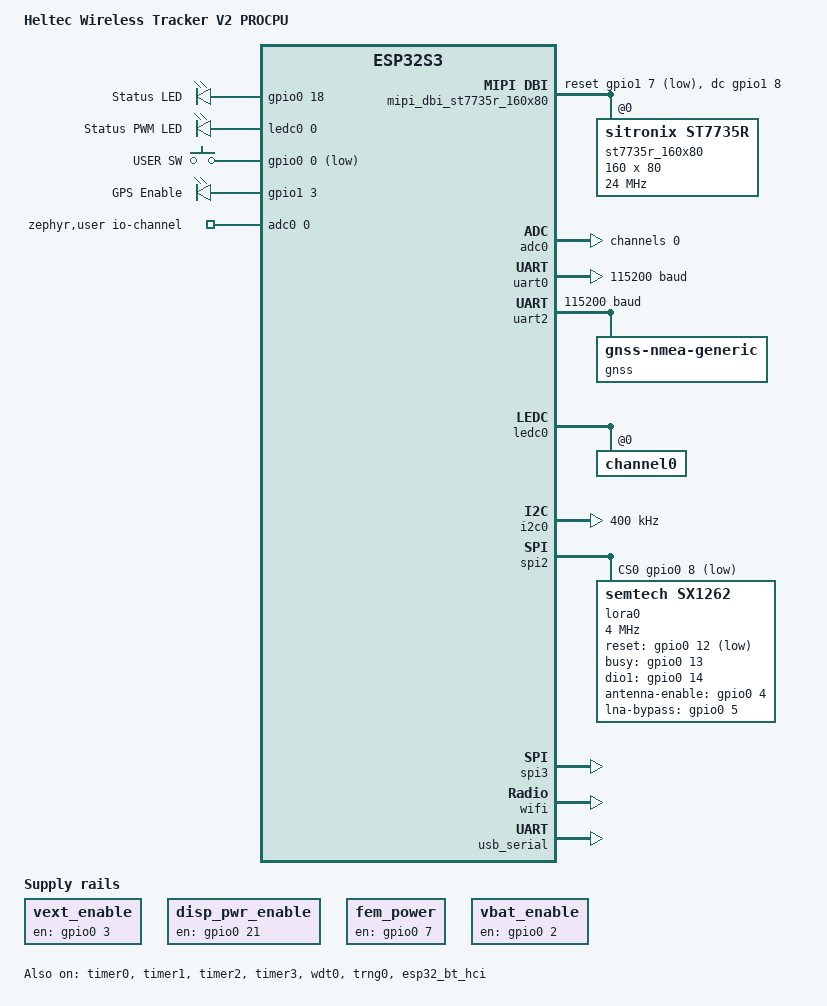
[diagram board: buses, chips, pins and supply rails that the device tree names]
/*
 * SPDX-License-Identifier: MIT
 * Heltec Wireless Tracker V2 — ZephCore procpu DTS
 *
 * Hardware:
 *   MCU:    ESP32-S3FN8, 8 MB flash
 *   Radio:  SX1262 on SPI2, KCT8103L external PA/FEM
 *   GNSS:   UC6580 on UART2
 *   TFT:    ST7735R-compatible 0.96" 160x80 on SPI3
 *   Button: GPIO0
 *   LED:    GPIO18
 *
 * Pin mappings are verified against:
 *   - Heltec Wireless Tracker V2.3 schematic and V2 datasheet
 *   - MeshCore variants/heltec_tracker_v2
 *
 * GPIO46 appears as "PA_CPS" in the Heltec pin map. It is not a FEM control
 * on this board and is left unclaimed. That label is a carry-over from the
 * V4.2 map, where the GC1109's CPS genuinely is GPIO46; on a KCT8103L the two
 * pin names swap roles and CPS is the SX1262 DIO2 net (dio2-tx-enable), which
 * is why MeshCore's heltec_tracker_v2 target defines no CPS GPIO and sets
 * SX126X_DIO2_AS_RF_SWITCH=true. See the FEM comment on the &lora node.
 */

/dts-v1/;

#include <espressif/esp32s3/esp32s3_fn8.dtsi>
#include <espressif/partitions_0x0_amp_8M.dtsi>
#include <zephyr/dt-bindings/adc/adc.h>
#include <zephyr/dt-bindings/input/input-event-codes.h>
#include <zephyr/dt-bindings/lora/sx126x.h>
#include <zephyr/dt-bindings/gpio/espressif-esp32-gpio.h>
#include <zephyr/dt-bindings/pwm/pwm.h>
#include "heltec_wireless_tracker_v2-pinctrl.dtsi"

/ {
	model = "Heltec Wireless Tracker V2 PROCPU";
	compatible = "heltec,wireless-tracker-v2", "espressif,esp32s3";

	aliases {
		led0 = &status_led;
		lora-tx-led = &status_led;
		heartbeat-pwm-led = &pwm_status_led;
		lora-tx-pwm-led = &pwm_status_led;
		uart-0 = &uart0;
		uart-2 = &uart2;
		i2c-0 = &i2c0;
		lora0 = &lora0;
		sw0 = &button0;
		watchdog0 = &wdt0;
		gnss = &gnss;
		gps-enable = &gps_enable_pin;
		display0 = &st7735r_160x80;
	};

	chosen {
		zephyr,sram = &sram1;
		zephyr,console = &usb_serial;
		zephyr,shell-uart = &usb_serial;
		zephyr,flash = &flash0;
		zephyr,code-partition = &slot0_partition;
		zephyr,bt-hci = &esp32_bt_hci;
		zephyr,display = &st7735r_160x80;
	};

	leds {
		compatible = "gpio-leds";

		status_led: led_0 {
			gpios = <&gpio0 18 GPIO_ACTIVE_HIGH>;
			label = "Status LED";
		};
	};

	/* Same GPIO18 net as status_led above, driven through the LEDC PWM
	 * peripheral instead of a raw GPIO write. Single LED doubling as
	 * heartbeat, message/shutdown flash and LoRa TX indicator (same
	 * "Option 1" shared-brightness pattern as T096, see helpers/ui/ui_common.c
	 * and adapters/board/ZephyrBoard.cpp: heartbeat-pwm-led/lora-tx-pwm-led
	 * aliases give every one of those events a single 0-100 brightness knob,
	 * RAM-only, on top of the existing persisted on/off gate. */
	pwm_leds {
		compatible = "pwm-leds";

		pwm_status_led: pwm_led_gpio18 {
			label = "Status PWM LED";
			pwms = <&ledc0 0 PWM_MSEC(10) PWM_POLARITY_NORMAL>;
		};
	};

	buttons: buttons {
		compatible = "gpio-keys";

		button0: button_0 {
			gpios = <&gpio0 0 (GPIO_PULL_UP | GPIO_ACTIVE_LOW)>;
			label = "USER SW";
			zephyr,code = <INPUT_KEY_0>;
		};
	};

	/* Vext powers the TFT and UC6580 GNSS rail. Keep it on; ZephCore gates
	 * GNSS by holding/releasing the GNSS reset line and gates only the TFT
	 * backlight at runtime. */
	vext_enable: tft_pwr_enable: vext-enable {
		compatible = "regulator-fixed";
		regulator-name = "vext";
		enable-gpios = <&gpio0 3 GPIO_ACTIVE_HIGH>;
		regulator-boot-on;
		regulator-always-on;
		/* Documents the rail's requirement, but do not rely on it. It is
		 * inert twice over: regulator-boot-on sends regulator_common_init()
		 * down the refcount-only branch so regulator_delay() never runs, and
		 * regulator-always-on makes regulator_enable() return at its first
		 * line. The real settle time comes from the ST7735R driver's own
		 * mipi_dbi_reset() + exit-sleep delay at DISPLAY_INIT_PRIORITY 85;
		 * the GNSS side is safe because gnss-nmea-generic never probes the
		 * receiver, it just parses whatever the UART delivers. */
		startup-delay-us = <10000>;
	};

	/* GPIO21 drives the TFT backlight switch. */
	disp_pwr_enable: disp-pwr-enable {
		compatible = "regulator-fixed";
		regulator-name = "disp-pwr-enable";
		enable-gpios = <&gpio0 21 GPIO_ACTIVE_HIGH>;
	};

	/* GPIO35 is the UC6580 reset/run line. HIGH releases reset/runs GNSS. */
	gps_en: gps-enable {
		compatible = "gpio-leds";

		gps_enable_pin: gps_enable {
			gpios = <&gpio1 3 GPIO_ACTIVE_HIGH>;
			label = "GPS Enable";
		};
	};

	/* FEM LDO power supply: VFEM_Ctrl = GPIO7. */
	fem_power: fem-power {
		compatible = "regulator-fixed";
		regulator-name = "fem-power";
		enable-gpios = <&gpio0 7 GPIO_ACTIVE_HIGH>;
		regulator-boot-on;
		regulator-always-on;
		/* Documents the FEM's requirement, but do not rely on it — inert for
		 * the same two reasons as vext above. Harmless because the FEM is a
		 * passive gain block with no bus to probe. */
		startup-delay-us = <1000>;
	};

	/* ADC_Ctrl = GPIO2. ZephCore enables it only while sampling battery. */
	vbat_enable: vbat-enable {
		compatible = "regulator-fixed";
		regulator-name = "vbat-enable";
		enable-gpios = <&gpio0 2 GPIO_ACTIVE_HIGH>;
	};

	zephyr,user {
		io-channels = <&adc0 0>;
		/* MeshCore V2 uses a 5.42x empirical battery scale. With ESP32-S3
		 * ADC_REF_INTERNAL (1100 mV), raw-to-battery multiplier is 5962 mV. */
		vbat-mv-multiplier = <5962>;
	};

	mipi_dbi_st7735r_160x80 {
		compatible = "zephyr,mipi-dbi-spi";
		spi-dev = <&spi3>;
		dc-gpios = <&gpio1 8 GPIO_ACTIVE_HIGH>;    /* GPIO40 */
		reset-gpios = <&gpio1 7 GPIO_ACTIVE_LOW>;  /* GPIO39 */
		write-only;
		status = "okay";
		#address-cells = <1>;
		#size-cells = <0>;

		st7735r_160x80: st7735r@0 {
			compatible = "sitronix,st7735r";
			mipi-max-frequency = <24000000>;
			mipi-mode = "MIPI_DBI_MODE_SPI_4WIRE";
			reg = <0>;
			width = <160>;
			height = <80>;
			/* No inversion-on: the mono_tft wrapper writes 0xFFFF for a lit
			 * pixel and 0x0000 for background, so INV_ON paints a light
			 * background with dark text.  The UI is drawn light-on-dark. */
			x-offset = <0>;
			y-offset = <24>;
			madctl = <0xa8>;
			colmod = <0x05>;
			invctr = <7>;
			vmctr1 = <0x0e>;
			pwctr1 = [a2 02 84];
			pwctr2 = [c1];
			pwctr3 = [0a 00];
			pwctr4 = [8a 2a];
			pwctr5 = [8a ee];
			frmctr1 = [01 26 2e];
			frmctr2 = [01 26 2e];
			frmctr3 = [01 26 2e 01 26 2e];
			gamctrp1 = [0f 1a 0f 18 2f 28 20 22 1f 1b 23 37 00 07 02 10];
			gamctrn1 = [0f 1b 0f 17 33 2c 29 2e 30 2e 30 3b 00 07 03 10];
			caset = [00 00 00 9f];
			raset = [00 18 00 67];
		};
	};
};

&adc0 {
	status = "okay";
	#address-cells = <1>;
	#size-cells = <0>;

	channel@0 {
		reg = <0>;
		zephyr,gain = "ADC_GAIN_1";
		zephyr,reference = "ADC_REF_INTERNAL";
		zephyr,acquisition-time = <ADC_ACQ_TIME_DEFAULT>;
		zephyr,resolution = <12>;
	};
};

/* ADC unit 2 channel 0 maps to GPIO11 on ESP32-S3, which is LoRa MISO here. */
&adc1 {
	status = "disabled";
};

&uart0 {
	status = "okay";
	current-speed = <115200>;
	pinctrl-0 = <&uart0_default>;
	pinctrl-names = "default";
};

&uart2 {
	status = "okay";
	current-speed = <115200>;
	pinctrl-0 = <&uart2_default>;
	pinctrl-names = "default";

	gnss: gnss-nmea-generic {
		compatible = "gnss-nmea-generic";
		status = "okay";
	};
};

&gpio0 {
	status = "okay";
};

&gpio1 {
	status = "okay";
};

&ledc0 {
	pinctrl-0 = <&ledc0_default>;
	pinctrl-names = "default";
	status = "okay";
	#address-cells = <1>;
	#size-cells = <0>;

	channel0@0 {
		reg = <0x0>;
		timer = <0>;
	};
};

&i2c0 {
	status = "okay";
	clock-frequency = <I2C_BITRATE_FAST>;
	pinctrl-0 = <&i2c0_default>;
	pinctrl-names = "default";
};

&spi2 {
	#address-cells = <1>;
	#size-cells = <0>;
	status = "okay";
	pinctrl-0 = <&spim2_default>;
	pinctrl-names = "default";
	cs-gpios = <&gpio0 8 GPIO_ACTIVE_LOW>;

	lora0: lora@0 {
		compatible = "semtech,sx1262";
		reg = <0>;
		reset-gpios = <&gpio0 12 (GPIO_OPEN_DRAIN | GPIO_ACTIVE_LOW)>;
		busy-gpios = <&gpio0 13 GPIO_ACTIVE_HIGH>;
		dio1-gpios = <&gpio0 14 (GPIO_PULL_DOWN | GPIO_ACTIVE_HIGH)>;

		/* KCT8103L control per MeshCore (variants/heltec_tracker_v2/
		 * LoRaFEMControl.cpp):
		 * - PA_CSD/GPIO4: active-HIGH FEM enable, low only in sleep
		 * - PA_CTX/GPIO5: receive-path select, LOW=LNA, HIGH=bypass;
		 *   held HIGH in TX, where the receive branch is inert
		 * - SX1262 DIO2 -> KCT8103L CPS: TX/RX path select
		 * CTX is lna-bypass-gpios, not tx-enable-gpios: it enables
		 * nothing. MeshCore's target defines CSD=4 and CTX=5, defines
		 * no CPS GPIO, and sets SX126X_DIO2_AS_RF_SWITCH=true -- so the
		 * path select is DIO2 in hardware, which is what leaves CTX
		 * free to mean LNA-or-bypass. */
		/*
		 * ESP32_GPIO_SLEEP_HOLD_EN on both: light sleep powers down
		 * RTC_PERIPH (chain documented in boards/common/pm_esp32.overlay)
		 * and GPIO4/GPIO5 are RTC-capable pads (0-21), so without the
		 * hold the FEM comes out of a sleep disabled and with an
		 * indeterminate receive path — transmit goes out through a
		 * bypassed PA, tens of dB down, and RX may lose the LNA, while
		 * the node keeps relaying and looks healthy.  Inert when
		 * CONFIG_PM=n.
		 */
		antenna-enable-gpios = <&gpio0 4 (GPIO_ACTIVE_HIGH |
						 ESP32_GPIO_SLEEP_HOLD_EN)>;
		lna-bypass-gpios = <&gpio0 5 (GPIO_ACTIVE_HIGH |
					      ESP32_GPIO_SLEEP_HOLD_EN)>;
		dio2-tx-enable;

		dio3-tcxo-voltage = <SX126X_DIO3_TCXO_1V8>;
		tcxo-power-startup-delay-ms = <5>;
		rx-boosted;
		spi-max-frequency = <4000000>;
		status = "okay";
	};
};

&spi3 {
	#address-cells = <1>;
	#size-cells = <0>;
	status = "okay";
	pinctrl-0 = <&spim3_default>;
	pinctrl-names = "default";
	cs-gpios = <&gpio1 6 GPIO_ACTIVE_LOW>;  /* GPIO38 */
	use-iomux;
};

&timer0 { status = "okay"; };
&timer1 { status = "okay"; };
&timer2 { status = "okay"; };
&timer3 { status = "okay"; };

&wdt0 { status = "okay"; };
&trng0 { status = "okay"; };

&esp32_bt_hci { status = "okay"; };
&wifi { status = "okay"; };
&usb_serial { status = "okay"; };
&st7735r_160x80 { status = "okay"; };
